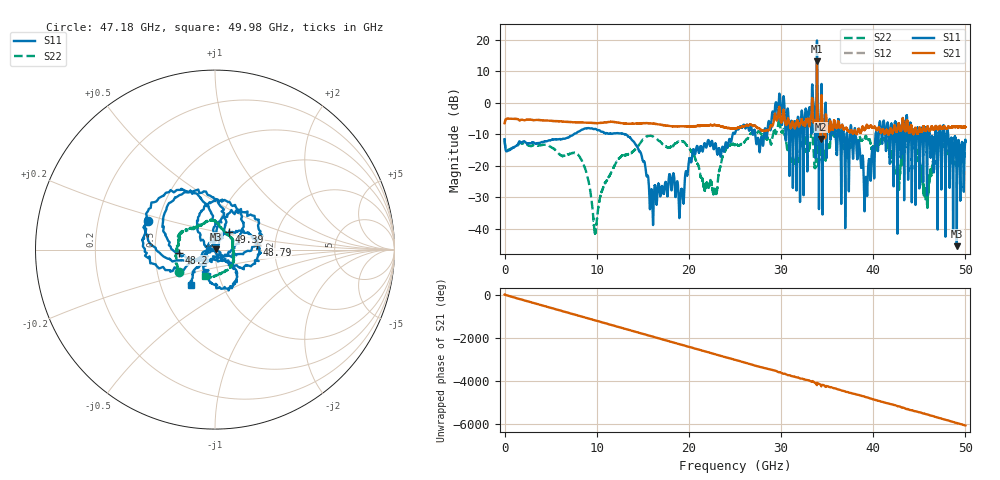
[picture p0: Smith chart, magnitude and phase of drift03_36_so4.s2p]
!Created with skrf (http://scikit-rf.org).
# Hz S RI R 50.0
!freq ReS11 ImS11 ReS21 ImS21 ReS12 ImS12 ReS22 ImS22
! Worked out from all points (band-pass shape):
!   10001 points, 300 kHz to 50 GHz, reference 50 ohm
!   highest |S21| = 13.12 dB at 33.9 GHz (marker M1); lowest = -11.4 dB at 34.32 GHz (marker M2)
!   |S21| within 3 dB of the highest: 33.88977 GHz to 33.90481 GHz (15.04 MHz wide, 0.0444 % of centre)
!   lowest |S11| = -45.4 dB at 49.07 GHz (marker M3), VSWR 1.01, Z = 50.5 + j0.0946 ohm
!   |S11| at or under -10 dB: start of sweep to 7.491 GHz; 13.13 GHz to 24.74 GHz (11.61 GHz wide, 61.3 % of centre); 38.09 GHz to 40.26 GHz (2.166 GHz wide, 5.53 % of centre) (the widest 3 of 51)
!   |S22| runs from -41.5 to 5.6 dB; largest |S21 - S12| = 0.33
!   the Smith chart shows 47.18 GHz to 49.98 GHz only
!   S11 on the Smith chart (normalised r, x): 47.18 GHz: 0.43, +0.17; 48.2 GHz: 0.67, -0.02; 48.79 GHz: 1.61, +0.08; 49.39 GHz: 1.15, +0.23; 49.98 GHz: 0.72, -0.30
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300000  -0.236 -0.1203  0.4657 0.0792  0.4644 0.0799  -0.2348 -0.1254
1.440291e9  0.2099 0.0647  -0.5478 -0.0292  -0.5478 -0.0292  0.2111 -0.00437
2.915283e9  -0.2122 -0.0878  0.534 0.0514  0.5348 0.0515  -0.2025 0.0405
4.415274e9  0.2062 0.1322  -0.5216 -0.0419  -0.5217 -0.0416  0.198 -0.0871
8.33525e9  0.2884 -0.2332  0.1462 0.4655  0.1464 0.4662  -0.0727 -0.1011
9.845241e9  -0.3636 0.1289  -0.1482 -0.452  -0.1488 -0.4522  0.00888 0.0023
1.66702e10  0.0273 0.0441  -0.3783 0.2528  -0.3781 0.2537  -0.1274 -0.2194
2.500015e10  -0.3261 -0.0145  -0.2548 -0.2957  -0.2542 -0.298  -0.2129 0.0277
2.895013e10  -0.322 0.4214  -0.2923 0.3235  -0.3034 0.2883  0.0622 0.2205
3.006512e10  0.3984 0.2645  0.4497 -0.1977  0.4524 -0.1845  0.1744 -0.2986
3.171011e10  -0.0895 0.1893  -0.3599 0.3559  -0.3614 0.3572  0.0664 0.1586
3.33351e10  0.6284 -0.811  0.253 -0.8438  0.2535 -0.8252  -0.1921 -0.4225
3.38951e10  -2.149 -9.44  -4.48 0.6647  -4.211 0.8523  0.4477 1.845
3.432009e10  -0.7775 0.00047  -0.1807 0.1978  -0.2427 0.1784  0.1435 -0.0725
4.167005e10  -0.2044 0.3031  0.3145 0.000538  0.3154 0.0117  -0.1986 -0.00809
4.717502e10  -0.3754 0.1619  0.2662 0.3177  0.2617 0.3149  -0.2007 -0.1262
4.819501e10  -0.1988 -0.0169  0.1474 -0.3875  0.1475 -0.3907  -0.0241 0.1606
4.878501e10  0.2331 0.024  -0.3337 -0.2439  -0.3349 -0.243  0.095 0.0566
4.906501e10  0.00527 0.000936  -0.4199 -0.0271  -0.4187 -0.0296  0.0969 0.0141
4.9385e10  0.0802 0.0963  -0.339 0.2362  -0.3422 0.2385  0.1028 -0.0568
4.998e10  -0.131 -0.1974  0.1221 0.3955  0.1227 0.3932  -0.0536 -0.1486
5e10  -0.1154 -0.2148  0.1468 0.3832  0.1442 0.3835  -0.0551 -0.143
